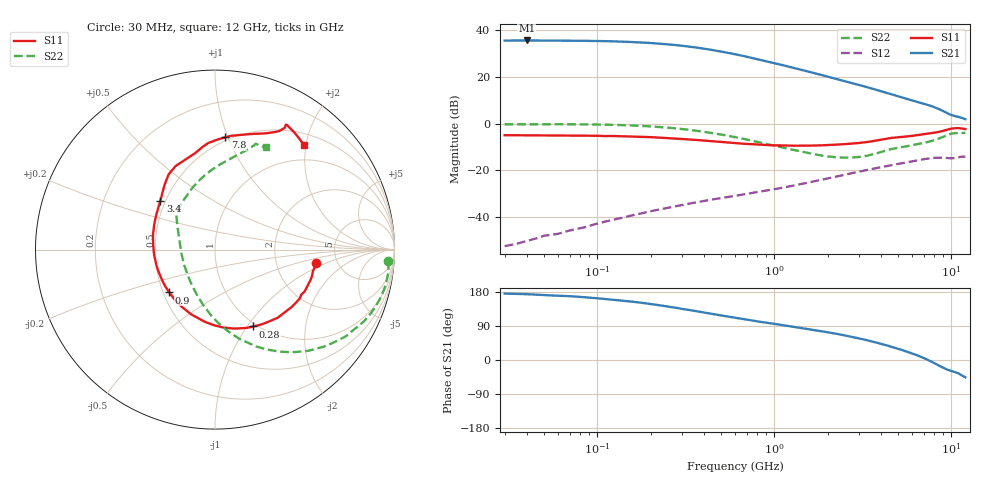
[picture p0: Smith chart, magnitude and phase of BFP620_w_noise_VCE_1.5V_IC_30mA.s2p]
! Infineon Technologies  Discrete & RF Semiconductors
! BFP620
! VCE =  1.5 V,  IC =  30 mA
! Common Emitter S-Parameters:  Nov 2015
# GHz  S  MA  R  50
!  f  S11  S21  S12  S22
! GHz  MAG  ANG  MAG  ANG  MAG  ANG  MAG  ANG
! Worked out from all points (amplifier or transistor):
!   239 points, 30 MHz to 12 GHz, reference 50 ohm
!   highest |S21| = 35.6 dB at 40 MHz (marker M1)
!   |S21| within 3 dB of that: start of sweep to 360.6 MHz
!   unconditionally stable (mu >= 1): 2.529 GHz to end of sweep
!   at 300 MHz: K = 0.35, MSG = 34.0 dB, |S12| = -34.8 dB
!   at 1.88 GHz: K = 0.95, MSG = 22.3 dB, |S12| = -23.9 dB
!   at 12 GHz: K = 1.09, MAG = 6.2 dB, |S12| = -14.2 dB
!   lowest NFmin = 1.15 dB at 450 MHz
!   S11 on the Smith chart (normalised r, x): 30 MHz: 3.43, -0.76; 280 MHz: 0.96, -1.06; 900 MHz: 0.54, -0.29; 3.4 GHz: 0.47, +0.31; 7.8 GHz: 0.47, +0.98; 12 GHz: 0.70, +1.97
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0.03  0.5664 -7.6  59.89 175.3  0.0024 89.7  0.9683 -3.8
0.04  0.5635 -10.4  60.12 173.7  0.0031 90.2  0.9716 -5.7
0.05  0.5586 -12.3  59.87 171.0  0.004 86.3  0.9733 -7.7
0.07  0.5581 -17.9  59.67 168.4  0.0052 82.3  0.9703 -11.4
0.085  0.5537 -21.4  59.03 165.6  0.0061 82.7  0.9654 -14.2
0.12  0.5452 -29.9  57.72 159.7  0.0086 79.1  0.9456 -20.4
0.15  0.5335 -36.9  56.1 155.0  0.0105 76.3  0.9219 -25.6
0.195  0.5164 -46.6  53.32 148.5  0.0131 73.2  0.8786 -32.7
0.24  0.4952 -55.9  50.34 142.4  0.0154 70.1  0.8323 -39.1
0.28  0.4779 -63.7  47.7 137.6  0.0173 67.9  0.7899 -44.3
0.34  0.4563 -74.5  43.84 131.0  0.0199 65.3  0.7279 -51.6
0.4  0.436 -84.2  40.21 125.2  0.0223 63.2  0.6698 -58.0
0.5  0.4059 -98.2  34.84 117.5  0.0256 60.8  0.5848 -67.1
0.6  0.3845 -110.1  30.51 111.4  0.0286 59.4  0.515 -74.8
0.7  0.3683 -120.4  26.94 106.3  0.0314 58.5  0.4567 -81.4
0.9  0.3492 -136.9  21.66 98.4  0.0369 57.5  0.3711 -92.8
1.2  0.3383 -155.2  16.62 89.7  0.0451 56.3  0.2898 -107.2
1.64  0.34 -174.7  12.35 80.0  0.0574 54.0  0.2265 -126.8
3.4  0.4087 138.2  5.908 51.3  0.1037 38.5  0.2094 162.9
4.5  0.4923 121.7  4.333 35.9  0.1278 27.5  0.2822 139.5
7.8  0.6284 84.7  2.338 -5.5  0.1839 -6.5  0.4307 95.0
12  0.7652 49.4  1.241 -45.7  0.196 -41.2  0.6377 63.3
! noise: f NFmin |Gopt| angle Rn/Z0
0.45  1.15  0.14  -158  0.1
0.9  1.15  0.17  -148  0.1
1.9  1.16  0.21  -139  0.11
2.4  1.18  0.22  -136  0.11
3.5  1.23  0.3  -99  0.17
5.5  1.48  0.33  -84  0.22
10  1.86  0.62  -46  0.9
